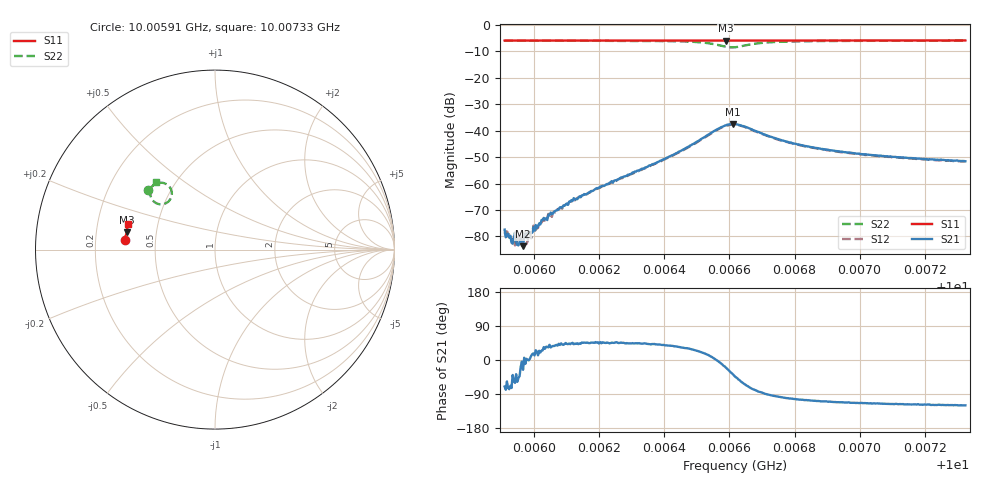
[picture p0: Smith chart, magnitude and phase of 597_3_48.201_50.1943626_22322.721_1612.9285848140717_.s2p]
#  HZ  S  RI  R  50.00
! Rohde & Schwarz Vector Network Analyzer
! Rohde-Schwarz,ZNB20-2Port,1311601062101988,3.16
! Created: UTC 3/20/2024, 12:02:51 PM
! freq[Hz]  re:S11  im:S11  re:S21  im:S21  re:S12  im:S12  re:S22  im:S22
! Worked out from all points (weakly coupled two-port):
!   401 points, 10.00591 GHz to 10.00733 GHz, reference 50 ohm
!   highest |S21| = -37.53 dB at 10.00661 GHz (marker M1); lowest = -83.7 dB at 10.00597 GHz (marker M2)
!   lowest |S11| = -6.0 dB at 10.00659 GHz (marker M3), VSWR 3.02, Z = 16.7 + j4.42 ohm
!   |S11| at or under -10 dB: nowhere
!   |S22| runs from -8.6 to -6.0 dB; largest |S21 - S12| = 0.00097
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1.0005909e10  -0.499 0.0553  4.62e-05 -0.000127  3.26e-05 -0.000115  -0.3726 0.3305
1.000592e10  -0.4991 0.056  3.17e-05 -0.000107  5.37e-05 -8.39e-05  -0.3721 0.3311
1.000593e10  -0.499 0.0566  2.09e-05 -7.3e-05  3.75e-05 -8.41e-05  -0.3715 0.3318
1.0005966e10  -0.4987 0.0589  5.89e-05 -2.86e-05  0.000118 -1.22e-05  -0.3695 0.3339
1.0005987e10  -0.4987 0.0603  0.000122 7.43e-06  0.000116 1.41e-05  -0.3684 0.3354
1.0006015e10  -0.4984 0.0623  0.00016 7.25e-05  0.000164 8.74e-05  -0.3667 0.3373
1.0006022e10  -0.4986 0.0628  0.000184 8.55e-05  0.000148 0.000106  -0.3662 0.3379
1.0006029e10  -0.4984 0.0632  0.000186 0.000125  0.000168 0.000136  -0.3658 0.3382
1.0006051e10  -0.4983 0.0645  0.000237 0.000155  0.000209 0.00017  -0.3646 0.3397
1.0006114e10  -0.4976 0.0686  0.000351 0.000337  0.000311 0.00033  -0.3604 0.3441
1.0006146e10  -0.4975 0.0707  0.000416 0.000429  0.000391 0.000423  -0.3579 0.3465
1.0006383e10  -0.4954 0.0862  0.00196 0.0017  0.00187 0.00175  -0.3304 0.3663
1.0006454e10  -0.4947 0.0907  0.00357 0.00233  0.00336 0.00243  -0.3109 0.3722
1.0006522e10  -0.4937 0.0952  0.00704 0.00231  0.00676 0.00259  -0.2753 0.3671
1.0006589e10  -0.4921 0.0989  0.0119 -0.00425  0.0118 -0.0035  -0.2419 0.298
1.000661e10  -0.492 0.0998  0.0106 -0.00803  0.0107 -0.00733  -0.2613 0.2663
1.0006617e10  -0.4921 0.1003  0.00957 -0.00915  0.00995 -0.00841  -0.2716 0.2593
1.0006695e10  -0.4922 0.105  0.000849 -0.00899  0.0013 -0.0088  -0.3522 0.282
1.0006755e10  -0.4917 0.109  -0.000901 -0.00664  -0.000535 -0.00656  -0.3604 0.3109
1.0006854e10  -0.4904 0.1154  -0.00144 -0.00463  -0.0012 -0.0046  -0.3563 0.336
1.0007091e10  -0.4873 0.1307  -0.0014 -0.00291  -0.00127 -0.00292  -0.3411 0.3627
1.0007325e10  -0.4836 0.1453  -0.00131 -0.00229  -0.00119 -0.00231  -0.3277 0.3784
